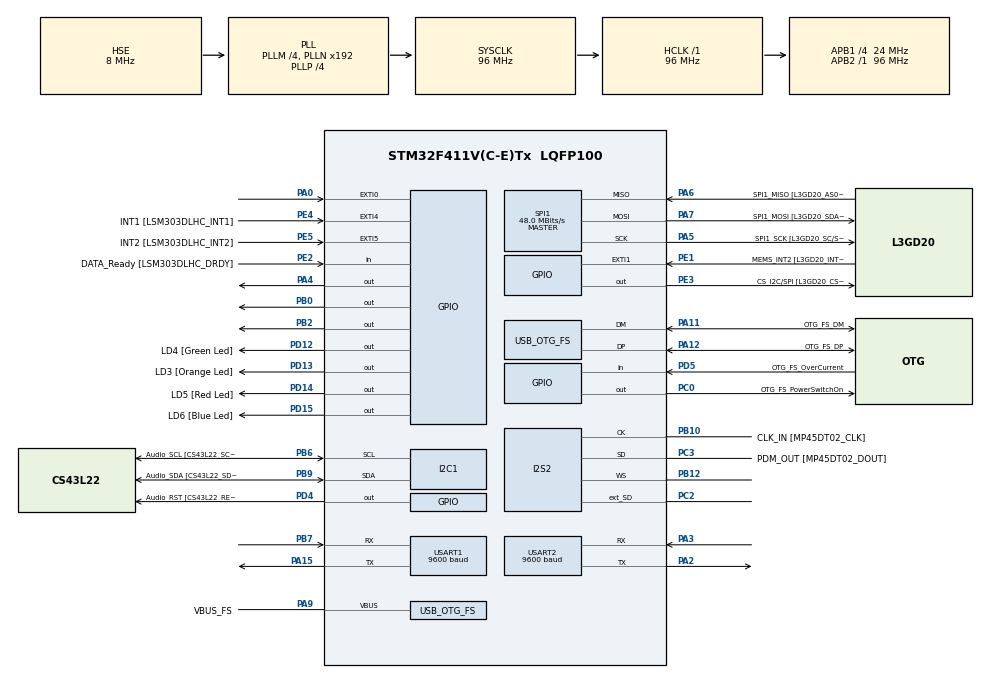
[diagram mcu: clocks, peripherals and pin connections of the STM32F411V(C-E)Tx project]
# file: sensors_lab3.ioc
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Dma.Request0=USART1_RX
Dma.USART1_RX.0.Direction=DMA_PERIPH_TO_MEMORY
Dma.USART1_RX.0.FIFOMode=DMA_FIFOMODE_DISABLE
Dma.USART1_RX.0.Instance=DMA2_Stream2
Dma.USART1_RX.0.MemDataAlignment=DMA_MDATAALIGN_BYTE
Dma.USART1_RX.0.MemInc=DMA_MINC_ENABLE
Dma.USART1_RX.0.Mode=DMA_CIRCULAR
Dma.USART1_RX.0.PeriphDataAlignment=DMA_PDATAALIGN_BYTE
Dma.USART1_RX.0.PeriphInc=DMA_PINC_DISABLE
Dma.USART1_RX.0.Priority=DMA_PRIORITY_HIGH
I2S2.AudioFreq=I2S_AUDIOFREQ_96K
I2S2.ErrorAudioFreq=0.15 %
I2S2.FullDuplexMode=I2S_FULLDUPLEXMODE_ENABLE
I2S2.Instance=SPI$Index
I2S2.RealAudioFreq=96.153 KHz
I2S2.VirtualMode=I2S_MODE_MASTER
Mcu.Family=STM32F4
Mcu.Name=STM32F411V(C-E)Tx
Mcu.Package=LQFP100
NVIC.DMA2_Stream2_IRQn=true\:0\:0\:false\:false\:true\:false\:true\:true
NVIC.OTG_FS_IRQn=true\:0\:0\:false\:false\:true\:true\:true\:true
NVIC.PriorityGroup=NVIC_PRIORITYGROUP_0
NVIC.USART2_IRQn=true\:0\:0\:false\:false\:true\:true\:true\:true
PA0-WKUP.GPIO_ModeDefaultEXTI=GPIO_MODE_EVT_RISING
PA0-WKUP.Signal=GPXTI0
PA10.GPIO_Label=OTG_FS_ID
PA10.Signal=USB_OTG_FS_ID
PA11.GPIO_Label=OTG_FS_DM
PA11.Mode=Host_Only
PA11.Signal=USB_OTG_FS_DM
PA12.GPIO_Label=OTG_FS_DP
PA12.Mode=Host_Only
PA12.Signal=USB_OTG_FS_DP
PA13.GPIO_Label=SWDIO
PA13.Mode=Serial_Wire
PA13.Signal=SYS_JTMS-SWDIO
PA14.GPIO_Label=SWCLK
PA14.Mode=Serial_Wire
PA14.Signal=SYS_JTCK-SWCLK
PA15.Mode=Asynchronous
PA15.Signal=USART1_TX
PA2.Mode=Asynchronous
PA2.Signal=USART2_TX
PA3.Mode=Asynchronous
PA3.Signal=USART2_RX
PA4.PinState=GPIO_PIN_SET
PA4.Signal=GPIO_Output
PA5.GPIO_Label=SPI1_SCK [L3GD20_SC/SPC]
PA5.Mode=Full_Duplex_Master
PA5.Signal=SPI1_SCK
PA6.GPIO_Label=SPI1_MISO [L3GD20_AS0/SDO]
PA6.Mode=Full_Duplex_Master
PA6.Signal=SPI1_MISO
PA7.GPIO_Label=SPI1_MOSI [L3GD20_SDA/SDI/SDO]
PA7.Mode=Full_Duplex_Master
PA7.Signal=SPI1_MOSI
PA9.GPIO_Label=VBUS_FS
PA9.Mode=Activate_VBUS
PA9.Signal=USB_OTG_FS_VBUS
PB0.Signal=GPIO_Output
PB10.GPIO_Label=CLK_IN [MP45DT02_CLK]
PB10.Mode=Full_Duplex_Master
PB10.Signal=I2S2_CK
PB12.Mode=Full_Duplex_Master
PB12.Signal=I2S2_WS
PB2.Signal=GPIO_Output
PB3.GPIO_Label=SWO
PB3.Signal=SYS_JTDO-SWO
PB6.GPIO_Label=Audio_SCL [CS43L22_SCL]
PB6.GPIO_Mode=GPIO_MODE_AF_OD
PB6.GPIO_Pu=GPIO_PULLUP
PB6.GPIO_PuPd=GPIO_NOPULL
PB6.GPIO_Speed=GPIO_SPEED_FREQ_LOW
PB6.Mode=I2C
PB6.Signal=I2C1_SCL
PB7.Mode=Asynchronous
PB7.Signal=USART1_RX
PB9.GPIO_Label=Audio_SDA [CS43L22_SDA]
PB9.GPIO_Mode=GPIO_MODE_AF_OD
PB9.GPIO_Pu=GPIO_PULLUP
PB9.GPIO_PuPd=GPIO_NOPULL
PB9.GPIO_Speed=GPIO_SPEED_FREQ_LOW
PB9.Mode=I2C
PB9.Signal=I2C1_SDA
PC0.GPIO_Label=OTG_FS_PowerSwitchOn
PC0.PinState=GPIO_PIN_SET
PC0.Signal=GPIO_Output
PC10.GPIO_Label=I2S3_SCK [CS43L22_SCLK]
PC10.GPIO_Mode=GPIO_MODE_AF_PP
PC10.GPIO_PuPd=GPIO_NOPULL
PC10.GPIO_Speed=GPIO_SPEED_FREQ_LOW
PC10.Signal=I2S3_CK
PC12.GPIO_Label=I2S3_SD [CS43L22_SDIN]
PC12.GPIO_Mode=GPIO_MODE_AF_PP
PC12.GPIO_PuPd=GPIO_NOPULL
PC12.GPIO_Speed=GPIO_SPEED_FREQ_LOW
PC12.Signal=I2S3_SD
PC14-OSC32_IN.GPIO_Label=PC14-OSC32_IN
PC14-OSC32_IN.Mode=LSE-External-Oscillator
PC14-OSC32_IN.Signal=RCC_OSC32_IN
PC15-OSC32_OUT.GPIO_Label=PC15-OSC32_OUT
PC15-OSC32_OUT.Mode=LSE-External-Oscillator
PC15-OSC32_OUT.Signal=RCC_OSC32_OUT
PC2.Mode=Full_Duplex_Master
PC2.Signal=I2S2_ext_SD
PC3.GPIO_Label=PDM_OUT [MP45DT02_DOUT]
PC3.Mode=Full_Duplex_Master
PC3.Signal=I2S2_SD
PC7.GPIO_Label=I2S3_MCK [CS43L22_MCLK]
PC7.GPIO_Mode=GPIO_MODE_AF_PP
PC7.GPIO_PuPd=GPIO_NOPULL
PC7.GPIO_Speed=GPIO_SPEED_FREQ_LOW
PC7.Signal=I2S3_MCK
PD12.GPIO_Label=LD4 [Green Led]
PD12.GPIO_PuPd=GPIO_NOPULL
PD12.GPIO_Speed=GPIO_SPEED_FREQ_LOW
PD12.Signal=GPIO_Output
PD13.GPIO_Label=LD3 [Orange Led]
PD13.GPIO_PuPd=GPIO_NOPULL
PD13.GPIO_Speed=GPIO_SPEED_FREQ_LOW
PD13.Signal=GPIO_Output
PD14.GPIO_Label=LD5 [Red Led]
PD14.GPIO_PuPd=GPIO_NOPULL
PD14.GPIO_Speed=GPIO_SPEED_FREQ_LOW
PD14.Signal=GPIO_Output
PD15.GPIO_Label=LD6 [Blue Led]
PD15.GPIO_PuPd=GPIO_NOPULL
PD15.GPIO_Speed=GPIO_SPEED_FREQ_LOW
PD15.Signal=GPIO_Output
PD4.GPIO_Label=Audio_RST [CS43L22_RESET]
PD4.Signal=GPIO_Output
PD5.GPIO_Label=OTG_FS_OverCurrent
PD5.Signal=GPIO_Input
PE1.GPIO_Label=MEMS_INT2 [L3GD20_INT2]
PE1.GPIO_ModeDefaultEXTI=GPIO_MODE_EVT_RISING
PE1.Signal=GPXTI1
PE2.GPIO_Label=DATA_Ready [LSM303DLHC_DRDY]
PE2.Signal=GPIO_Input
PE3.GPIO_Label=CS_I2C/SPI [L3GD20_CS_I2C/SPI]
PE3.Signal=GPIO_Output
PE4.GPIO_Label=INT1 [LSM303DLHC_INT1]
PE4.GPIO_ModeDefaultEXTI=GPIO_MODE_EVT_RISING
PE4.Signal=GPXTI4
PE5.GPIO_Label=INT2 [LSM303DLHC_INT2]
PE5.GPIO_ModeDefaultEXTI=GPIO_MODE_EVT_RISING
PE5.Signal=GPXTI5
PH0\ -\ OSC_IN.GPIO_Label=PH0-OSC_IN
PH0\ -\ OSC_IN.Mode=HSE-External-Clock-Source
PH0\ -\ OSC_IN.Signal=RCC_OSC_IN
PH1\ -\ OSC_OUT.GPIO_Label=PH1-OSC_OUT
PH1\ -\ OSC_OUT.Mode=HSE-External-Clock-Source
PH1\ -\ OSC_OUT.Signal=RCC_OSC_OUT
ProjectManager.HeapSize=0x200
ProjectManager.StackSize=0x400
ProjectManager.TargetToolchain=STM32CubeIDE
RCC.48MHZClocksFreq_Value=48000000
RCC.AHBFreq_Value=96000000
RCC.APB1CLKDivider=RCC_HCLK_DIV4
RCC.APB1Freq_Value=24000000
RCC.APB1TimFreq_Value=48000000
RCC.APB2Freq_Value=96000000
RCC.APB2TimFreq_Value=96000000
RCC.CortexFreq_Value=96000000
RCC.HCLKFreq_Value=96000000
RCC.HSE_VALUE=8000000
RCC.HSI_VALUE=16000000
RCC.PLLI2SM=5
RCC.PLLI2SN=200
RCC.PLLM=4
RCC.PLLP=RCC_PLLP_DIV4
RCC.PLLQ=8
RCC.SYSCLKFreq_VALUE=96000000
RCC.SYSCLKSource=RCC_SYSCLKSOURCE_PLLCLK
RCC.VCOOutputFreq_Value=384000000
SPI1.BaudRatePrescaler=SPI_BAUDRATEPRESCALER_2
SPI1.CalculateBaudRate=48.0 MBits/s
SPI1.Direction=SPI_DIRECTION_2LINES
SPI1.Mode=SPI_MODE_MASTER
SPI1.VirtualType=VM_MASTER
USART1.BaudRate=9600
USART1.VirtualMode=VM_ASYNC
USART2.BaudRate=9600
USART2.VirtualMode=VM_ASYNC
USB_HOST.BSP.number=1
USB_HOST.USBH_HandleTypeDef=hUsbHostFS
USB_HOST.VirtualModeFS=Cdc
USB_HOST0.BSP.STBoard=false
USB_HOST0.BSP.api=Unknown
USB_HOST0.BSP.instance=PC0
USB_HOST0.BSP.ip=GPIO
USB_HOST0.BSP.mode=Output
USB_HOST0.BSP.name=Drive_VBUS_FS
USB_HOST0.BSP.solution=PC0
USB_OTG_FS.VirtualMode=Host_Only
USB_OTG_FS.phy_itface=HCD_PHY_EMBEDDED
VP_USB_HOST_VS_USB_HOST_CDC_FS.Mode=CDC_FS
board=STM32F411E-DISCO

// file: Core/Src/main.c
/* USER CODE BEGIN Header */
/**
  ******************************************************************************
  * @file           : main.c
  * @brief          : Main program body
  ******************************************************************************
  * @attention
  *
  * Copyright (c) 2025 STMicroelectronics.
  * All rights reserved.
  *
  * This software is licensed under terms that can be found in the LICENSE file
  * in the root directory of this software component.
  * If no LICENSE file comes with this software, it is provided AS-IS.
  *
  ******************************************************************************
  */
/* USER CODE END Header */
#include "main.h"
#include "usb_host.h"

/* USER CODE BEGIN Includes */
#include <string.h>
#include <stdlib.h>
#include <stdio.h>
#include "nmea_parse.h"
#include <stdarg.h>
#include "ili9341.h"
#include "ili9341_touch.h"
#include "fonts.h"
/* USER CODE END Includes */

/* USER CODE BEGIN PD */
#define RxBuffer_SIZE 64  //configure uart receive buffer size
#define CLI_SIZE 15
/* USER CODE END PD */

I2C_HandleTypeDef hi2c1;

I2S_HandleTypeDef hi2s2;

SPI_HandleTypeDef hspi1;

UART_HandleTypeDef huart1;
UART_HandleTypeDef huart2;
DMA_HandleTypeDef hdma_usart1_rx;

/* USER CODE BEGIN PV */

uint16_t oldPos = 0;
uint16_t newPos = 0;
uint8_t RxBuffer[RxBuffer_SIZE];
uint8_t DataBuffer[DataBuffer_SIZE];

uint8_t cli_byte;
char cli_buffer[CLI_SIZE];
uint8_t cli_index = 0;
uint8_t cli_ready = 0;
char command[CLI_SIZE];
uint8_t raw_mode_on = 0;

uint32_t lastUpdate = 0;
char device_id_str[16];

GPS myData;

/* USER CODE END PV */

void SystemClock_Config(void);
static void MX_GPIO_Init(void);
static void MX_DMA_Init(void);
static void MX_I2C1_Init(void);
static void MX_I2S2_Init(void);
static void MX_SPI1_Init(void);
static void MX_USART2_UART_Init(void);
static void MX_USART1_UART_Init(void);
void MX_USB_HOST_Process(void);

/* USER CODE BEGIN PFP */
uint8_t validate_checksum(char* sentence);
void parse_RMC(char* sentence);
void parse_GGA(char* sentence);
float nmea_to_decimal(char* coord, char hemisphere);
void process_nmea_sentence(char* sentence);
/* USER CODE END PFP */

/* USER CODE BEGIN 0 */
void process_commands(char* cmd){
	if(strcmp(cmd, "VER") == 0){
		char str[128];
		sprintf(str, "FW v1.0, build: %s %s, UART2 9600\r\n", __DATE__, __TIME__);
		HAL_UART_Transmit(&huart2, (uint8_t*)str, strlen(str), 1000);
		cli_ready = 0;
	}else if (strcmp(cmd, "GET POS") == 0) {
		nmea_parse(&myData, DataBuffer);
	    char buf[32];

	    // Latitude
	    HAL_UART_Transmit(&huart2, (uint8_t*)"Lat: ", 5, 100);
	    sprintf(buf, "%f\r\n", myData.latitude);
	    HAL_UART_Transmit(&huart2, (uint8_t*)buf, strlen(buf), 100);

	    // Latitude side
	    HAL_UART_Transmit(&huart2, (uint8_t*)"Lat side: ", 10, 100);
	    sprintf(buf, "%c\r\n", myData.latSide);
	    HAL_UART_Transmit(&huart2, (uint8_t*)buf, strlen(buf), 100);

	    // Longitude
	    HAL_UART_Transmit(&huart2, (uint8_t*)"Lon: ", 5, 100);
	    sprintf(buf, "%f\r\n", myData.longitude);
	    HAL_UART_Transmit(&huart2, (uint8_t*)buf, strlen(buf), 100);

	    // Longitude side
	    HAL_UART_Transmit(&huart2, (uint8_t*)"Lon side: ", 10, 100);
	    sprintf(buf, "%c\r\n", myData.lonSide);
	    HAL_UART_Transmit(&huart2, (uint8_t*)buf, strlen(buf), 100);

	    // Fix
	    HAL_UART_Transmit(&huart2, (uint8_t*)"Fix: ", 5, 100);
	    sprintf(buf, "%d\r\n", myData.fix);
	    HAL_UART_Transmit(&huart2, (uint8_t*)buf, strlen(buf), 100);

	    // Satellite count
	    HAL_UART_Transmit(&huart2, (uint8_t*)"Sats: ", 6, 100);
	    sprintf(buf, "%d\r\n", myData.satelliteCount);
	    HAL_UART_Transmit(&huart2, (uint8_t*)buf, strlen(buf), 100);
		cli_ready = 0;
    } else if (strcmp(cmd, "GET TIME") == 0) {
    	nmea_parse(&myData, DataBuffer);
        char str[64];
        sprintf(str, "UTC:%s, stale:%s\r\n", myData.lastMeasure,
            (myData.fix ? "no" : "yes"));
        HAL_UART_Transmit(&huart2, (uint8_t*)str, strlen(str), 100);
		cli_ready = 0;
    } else if (strncmp(cmd, "RAW ", 4) == 0) {
        if (strcmp(cmd+4, "ON") == 0) raw_mode_on = 1;
        HAL_UART_Transmit(&huart2, (uint8_t*)"RAW mode updated\r\n", 17, 100);
        raw_mode_on = 1;
        while(raw_mode_on){
        	nmea_parse(&myData, DataBuffer);
        }
    } else {
        HAL_UART_Transmit(&huart2, (uint8_t*)"Unknown command\r\n", 17, 100);
		cli_ready = 0;
    }
}

uint32_t get_unique_id(void) {
	uint32_t *uid = (uint32_t*)0x1FFF7A10; //UID address in STM32-nucleoF446re
    return uid[0] ^ uid[1] ^ uid[2]; // XOR all three 32 bit parts
}
void display_gps_data(GPS *data) {
    char buf[64];

    // ID
    sprintf(buf, "ID: %s", device_id_str);
    ILI9341_WriteString(10, 40, buf, Font_11x18, ILI9341_CYAN, ILI9341_BLACK);

    // Latitude
    sprintf(buf, "LAT: %.6f", data->latitude);
    ILI9341_WriteString(10, 70, buf, Font_11x18, ILI9341_GREEN, ILI9341_BLACK);

    sprintf(buf, "LAT side: %c", data->latSide);
    ILI9341_WriteString(10, 90, buf, Font_11x18, ILI9341_YELLOW, ILI9341_BLACK);

    // Longitude
    sprintf(buf, "LON: %.6f", data->longitude);
    ILI9341_WriteString(10, 120, buf, Font_11x18, ILI9341_GREEN, ILI9341_BLACK);

    sprintf(buf, "LON side: %c", data->lonSide);
    ILI9341_WriteString(10, 140, buf, Font_11x18, ILI9341_YELLOW, ILI9341_BLACK);

    // UTC Time
    sprintf(buf, "UTC: %s", data->lastMeasure);
    ILI9341_WriteString(10, 170, buf, Font_11x18, ILI9341_WHITE, ILI9341_BLACK);

    // Satellites
    sprintf(buf, "Sats: %d", data->satelliteCount);
    ILI9341_WriteString(10, 200, buf, Font_11x18, ILI9341_YELLOW, ILI9341_BLACK);
}

void HAL_UARTEx_RxEventCallback(UART_HandleTypeDef *huart, uint16_t Size)
{
	if(huart->Instance == USART1){
		oldPos = newPos; //keep track of the last position in the buffer
		if(oldPos + Size > DataBuffer_SIZE){ //if the buffer is full, parse it, then reset the buffer

			uint16_t datatocopy = DataBuffer_SIZE-oldPos;  // find out how much space is left in the main buffer
			memcpy ((uint8_t *)DataBuffer+oldPos, RxBuffer, datatocopy);  // copy data in that remaining space

			oldPos = 0;  // point to the start of the buffer
			memcpy ((uint8_t *)DataBuffer, (uint8_t *)RxBuffer+datatocopy, (Size-datatocopy));  // copy the remaining data
			newPos = (Size-datatocopy);  // update the position
		}
		else{
			memcpy((uint8_t *)DataBuffer+oldPos, RxBuffer, Size); //copy received data to the buffer
			newPos = Size+oldPos; //update buffer position

		}
		HAL_UARTEx_ReceiveToIdle_DMA(&huart1, (uint8_t *)RxBuffer, RxBuffer_SIZE); //re-enable the DMA interrupt
		__HAL_DMA_DISABLE_IT(&hdma_usart1_rx, DMA_IT_HT); //disable the half transfer interrupt
		}
}

void HAL_UART_RxCpltCallback(UART_HandleTypeDef *huart)
{
    if (huart->Instance == USART2) // твій порт
    {
    	raw_mode_on = 0;
		cli_ready = 0;
    	HAL_UART_Transmit(&huart2, &cli_byte, 1, 1000);
        if (cli_byte == '\r' || cli_byte == '\n')
        {
            cli_buffer[cli_index] = '\0';
            memcpy(command, cli_buffer, cli_index + 1);
            HAL_UART_Transmit(&huart2, (uint8_t*)"\r\n", 2, 100);
            cli_ready = 1;
            cli_index = 0;

        }
        else
        {
            if (cli_index < CLI_SIZE - 1){

                cli_buffer[cli_index++] = cli_byte;
            }
            else
				{
					cli_buffer[cli_index] = '\0';

					char msg[] = "\r\nInvalid command\r\n";
					HAL_UART_Transmit(&huart2, (uint8_t *)msg, strlen(msg), 1000);

					cli_index = 0;
				}

        }

    }
    HAL_UART_Receive_IT(&huart2, &cli_byte, 1);
}

/* USER CODE END 0 */

int main(void)
{

  /* MCU Configuration--------------------------------------------------------*/

  /* Reset of all peripherals, Initializes the Flash interface and the Systick. */
  HAL_Init();

  /* Configure the system clock */
  SystemClock_Config();

  /* Initialize all configured peripherals */
  MX_GPIO_Init();
  MX_DMA_Init();
  MX_I2C1_Init();
  MX_I2S2_Init();
  MX_SPI1_Init();
  MX_USB_HOST_Init();
  MX_USART2_UART_Init();
  MX_USART1_UART_Init();
  /* USER CODE BEGIN 2 */

  HAL_GPIO_WritePin(ILI9341_CS_GPIO_Port, ILI9341_CS_Pin, GPIO_PIN_SET);
  HAL_GPIO_WritePin(ILI9341_DC_GPIO_Port, ILI9341_DC_Pin, GPIO_PIN_SET);
  HAL_GPIO_WritePin(ILI9341_RES_GPIO_Port, ILI9341_RES_Pin, GPIO_PIN_SET);
  // Initialize ILI9341 display
  ILI9341_Init();

  // Fill screen with red
  ILI9341_FillScreen(ILI9341_RED);
  HAL_Delay(500);

  // Clear and show interface
  uint32_t node_id = get_unique_id();
  sprintf(device_id_str, "0x%08lX", node_id);

  ILI9341_FillScreen(ILI9341_WHITE);
  ILI9341_WriteString(10, 10, "GPS ready", Font_16x26, ILI9341_YELLOW, ILI9341_BLACK);
  HAL_Delay(500);

  char msg[] = "GPS NMEA Parser Started\r\n";
  int8_t msg_len = strlen(msg);
  HAL_UART_Transmit(&huart2, (uint8_t*)msg, msg_len, HAL_MAX_DELAY);
  // Start UART DMA reception
  HAL_UARTEx_ReceiveToIdle_DMA(&huart1, (uint8_t *)RxBuffer, RxBuffer_SIZE);
  __HAL_DMA_DISABLE_IT(&hdma_usart1_rx, DMA_IT_HT);
  int Serialcnt = 0;
  HAL_UART_Receive_IT(&huart2, &cli_byte, 1);

  /* USER CODE END 2 */

  /* Infinite loop */
  /* USER CODE BEGIN WHILE */
  while (1)
  {
	  if (HAL_GetTick() - lastUpdate >= 1000) {
	      nmea_parse(&myData, DataBuffer);
	      display_gps_data(&myData);
	      lastUpdate = HAL_GetTick();
	  }

    /* USER CODE END WHILE */
    MX_USB_HOST_Process();

  }
}

void SystemClock_Config(void)
{
  RCC_OscInitTypeDef RCC_OscInitStruct = {0};
  RCC_ClkInitTypeDef RCC_ClkInitStruct = {0};

  /** Configure the main internal regulator output voltage
  */
  __HAL_RCC_PWR_CLK_ENABLE();
  __HAL_PWR_VOLTAGESCALING_CONFIG(PWR_REGULATOR_VOLTAGE_SCALE1);

  /** Initializes the RCC Oscillators according to the specified parameters
  * in the RCC_OscInitTypeDef structure.
  */
  RCC_OscInitStruct.OscillatorType = RCC_OSCILLATORTYPE_HSE;
  RCC_OscInitStruct.HSEState = RCC_HSE_BYPASS;
  RCC_OscInitStruct.PLL.PLLState = RCC_PLL_ON;
  RCC_OscInitStruct.PLL.PLLSource = RCC_PLLSOURCE_HSE;
  RCC_OscInitStruct.PLL.PLLM = 4;
  RCC_OscInitStruct.PLL.PLLN = 192;
  RCC_OscInitStruct.PLL.PLLP = RCC_PLLP_DIV4;
  RCC_OscInitStruct.PLL.PLLQ = 8;
  if (HAL_RCC_OscConfig(&RCC_OscInitStruct) != HAL_OK)
  {
    Error_Handler();
  }

  /** Initializes the CPU, AHB and APB buses clocks
  */
  RCC_ClkInitStruct.ClockType = RCC_CLOCKTYPE_HCLK|RCC_CLOCKTYPE_SYSCLK
                              |RCC_CLOCKTYPE_PCLK1|RCC_CLOCKTYPE_PCLK2;
  RCC_ClkInitStruct.SYSCLKSource = RCC_SYSCLKSOURCE_PLLCLK;
  RCC_ClkInitStruct.AHBCLKDivider = RCC_SYSCLK_DIV1;
  RCC_ClkInitStruct.APB1CLKDivider = RCC_HCLK_DIV4;
  RCC_ClkInitStruct.APB2CLKDivider = RCC_HCLK_DIV1;

  if (HAL_RCC_ClockConfig(&RCC_ClkInitStruct, FLASH_LATENCY_3) != HAL_OK)
  {
    Error_Handler();
  }
}

static void MX_I2C1_Init(void)
{

  hi2c1.Instance = I2C1;
  hi2c1.Init.ClockSpeed = 100000;
  hi2c1.Init.DutyCycle = I2C_DUTYCYCLE_2;
  hi2c1.Init.OwnAddress1 = 0;
  hi2c1.Init.AddressingMode = I2C_ADDRESSINGMODE_7BIT;
  hi2c1.Init.DualAddressMode = I2C_DUALADDRESS_DISABLE;
  hi2c1.Init.OwnAddress2 = 0;
  hi2c1.Init.GeneralCallMode = I2C_GENERALCALL_DISABLE;
  hi2c1.Init.NoStretchMode = I2C_NOSTRETCH_DISABLE;
  if (HAL_I2C_Init(&hi2c1) != HAL_OK)
  {
    Error_Handler();
  }

}

static void MX_I2S2_Init(void)
{

  hi2s2.Instance = SPI2;
  hi2s2.Init.Mode = I2S_MODE_MASTER_TX;
  hi2s2.Init.Standard = I2S_STANDARD_PHILIPS;
  hi2s2.Init.DataFormat = I2S_DATAFORMAT_16B;
  hi2s2.Init.MCLKOutput = I2S_MCLKOUTPUT_DISABLE;
  hi2s2.Init.AudioFreq = I2S_AUDIOFREQ_96K;
  hi2s2.Init.CPOL = I2S_CPOL_LOW;
  hi2s2.Init.ClockSource = I2S_CLOCK_PLL;
  hi2s2.Init.FullDuplexMode = I2S_FULLDUPLEXMODE_ENABLE;
  if (HAL_I2S_Init(&hi2s2) != HAL_OK)
  {
    Error_Handler();
  }

}

static void MX_SPI1_Init(void)
{

  /* SPI1 parameter configuration*/
  hspi1.Instance = SPI1;
  hspi1.Init.Mode = SPI_MODE_MASTER;
  hspi1.Init.Direction = SPI_DIRECTION_2LINES;
  hspi1.Init.DataSize = SPI_DATASIZE_8BIT;
  hspi1.Init.CLKPolarity = SPI_POLARITY_LOW;
  hspi1.Init.CLKPhase = SPI_PHASE_1EDGE;
  hspi1.Init.NSS = SPI_NSS_SOFT;
  hspi1.Init.BaudRatePrescaler = SPI_BAUDRATEPRESCALER_2;
  hspi1.Init.FirstBit = SPI_FIRSTBIT_MSB;
  hspi1.Init.TIMode = SPI_TIMODE_DISABLE;
  hspi1.Init.CRCCalculation = SPI_CRCCALCULATION_DISABLE;
  hspi1.Init.CRCPolynomial = 10;
  if (HAL_SPI_Init(&hspi1) != HAL_OK)
  {
    Error_Handler();
  }

}

static void MX_USART1_UART_Init(void)
{

  huart1.Instance = USART1;
  huart1.Init.BaudRate = 9600;
  huart1.Init.WordLength = UART_WORDLENGTH_8B;
  huart1.Init.StopBits = UART_STOPBITS_1;
  huart1.Init.Parity = UART_PARITY_NONE;
  huart1.Init.Mode = UART_MODE_TX_RX;
  huart1.Init.HwFlowCtl = UART_HWCONTROL_NONE;
  huart1.Init.OverSampling = UART_OVERSAMPLING_16;
  if (HAL_UART_Init(&huart1) != HAL_OK)
  {
    Error_Handler();
  }

}

static void MX_USART2_UART_Init(void)
{

  huart2.Instance = USART2;
  huart2.Init.BaudRate = 9600;
  huart2.Init.WordLength = UART_WORDLENGTH_8B;
  huart2.Init.StopBits = UART_STOPBITS_1;
  huart2.Init.Parity = UART_PARITY_NONE;
  huart2.Init.Mode = UART_MODE_TX_RX;
  huart2.Init.HwFlowCtl = UART_HWCONTROL_NONE;
  huart2.Init.OverSampling = UART_OVERSAMPLING_16;
  if (HAL_UART_Init(&huart2) != HAL_OK)
  {
    Error_Handler();
  }

}

static void MX_DMA_Init(void)
{

  /* DMA controller clock enable */
  __HAL_RCC_DMA2_CLK_ENABLE();

  /* DMA interrupt init */
  /* DMA2_Stream2_IRQn interrupt configuration */
  HAL_NVIC_SetPriority(DMA2_Stream2_IRQn, 0, 0);
  HAL_NVIC_EnableIRQ(DMA2_Stream2_IRQn);

}

static void MX_GPIO_Init(void)
{
  GPIO_InitTypeDef GPIO_InitStruct = {0};

  /* GPIO Ports Clock Enable */
  __HAL_RCC_GPIOE_CLK_ENABLE();
  __HAL_RCC_GPIOC_CLK_ENABLE();
  __HAL_RCC_GPIOH_CLK_ENABLE();
  __HAL_RCC_GPIOA_CLK_ENABLE();
  __HAL_RCC_GPIOB_CLK_ENABLE();
  __HAL_RCC_GPIOD_CLK_ENABLE();

  /*Configure GPIO pin Output Level */
  HAL_GPIO_WritePin(CS_I2C_SPI_GPIO_Port, CS_I2C_SPI_Pin, GPIO_PIN_RESET);

  /*Configure GPIO pin Output Level */
  HAL_GPIO_WritePin(OTG_FS_PowerSwitchOn_GPIO_Port, OTG_FS_PowerSwitchOn_Pin, GPIO_PIN_SET);

  /*Configure GPIO pin Output Level */
  HAL_GPIO_WritePin(GPIOA, GPIO_PIN_4, GPIO_PIN_SET);

  /*Configure GPIO pin Output Level */
  HAL_GPIO_WritePin(GPIOB, GPIO_PIN_0|GPIO_PIN_2, GPIO_PIN_RESET);

  /*Configure GPIO pin Output Level */
  HAL_GPIO_WritePin(GPIOD, LD4_Pin|LD3_Pin|LD5_Pin|LD6_Pin
                          |Audio_RST_Pin, GPIO_PIN_RESET);

  /*Configure GPIO pin : DATA_Ready_Pin */
  GPIO_InitStruct.Pin = DATA_Ready_Pin;
  GPIO_InitStruct.Mode = GPIO_MODE_INPUT;
  GPIO_InitStruct.Pull = GPIO_NOPULL;
  HAL_GPIO_Init(DATA_Ready_GPIO_Port, &GPIO_InitStruct);

  /*Configure GPIO pin : CS_I2C_SPI_Pin */
  GPIO_InitStruct.Pin = CS_I2C_SPI_Pin;
  GPIO_InitStruct.Mode = GPIO_MODE_OUTPUT_PP;
  GPIO_InitStruct.Pull = GPIO_NOPULL;
  GPIO_InitStruct.Speed = GPIO_SPEED_FREQ_LOW;
  HAL_GPIO_Init(CS_I2C_SPI_GPIO_Port, &GPIO_InitStruct);

  /*Configure GPIO pins : INT1_Pin INT2_Pin MEMS_INT2_Pin */
  GPIO_InitStruct.Pin = INT1_Pin|INT2_Pin|MEMS_INT2_Pin;
  GPIO_InitStruct.Mode = GPIO_MODE_EVT_RISING;
  GPIO_InitStruct.Pull = GPIO_NOPULL;
  HAL_GPIO_Init(GPIOE, &GPIO_InitStruct);

  /*Configure GPIO pin : OTG_FS_PowerSwitchOn_Pin */
  GPIO_InitStruct.Pin = OTG_FS_PowerSwitchOn_Pin;
  GPIO_InitStruct.Mode = GPIO_MODE_OUTPUT_PP;
  GPIO_InitStruct.Pull = GPIO_NOPULL;
  GPIO_InitStruct.Speed = GPIO_SPEED_FREQ_LOW;
  HAL_GPIO_Init(OTG_FS_PowerSwitchOn_GPIO_Port, &GPIO_InitStruct);

  /*Configure GPIO pin : PA0 */
  GPIO_InitStruct.Pin = GPIO_PIN_0;
  GPIO_InitStruct.Mode = GPIO_MODE_EVT_RISING;
  GPIO_InitStruct.Pull = GPIO_NOPULL;
  HAL_GPIO_Init(GPIOA, &GPIO_InitStruct);

  /*Configure GPIO pin : PA4 */
  GPIO_InitStruct.Pin = GPIO_PIN_4;
  GPIO_InitStruct.Mode = GPIO_MODE_OUTPUT_PP;
  GPIO_InitStruct.Pull = GPIO_NOPULL;
  GPIO_InitStruct.Speed = GPIO_SPEED_FREQ_LOW;
  HAL_GPIO_Init(GPIOA, &GPIO_InitStruct);

  /*Configure GPIO pins : PB0 PB2 */
  GPIO_InitStruct.Pin = GPIO_PIN_0|GPIO_PIN_2;
  GPIO_InitStruct.Mode = GPIO_MODE_OUTPUT_PP;
  GPIO_InitStruct.Pull = GPIO_NOPULL;
  GPIO_InitStruct.Speed = GPIO_SPEED_FREQ_LOW;
  HAL_GPIO_Init(GPIOB, &GPIO_InitStruct);

  /*Configure GPIO pins : LD4_Pin LD3_Pin LD5_Pin LD6_Pin
                           Audio_RST_Pin */
  GPIO_InitStruct.Pin = LD4_Pin|LD3_Pin|LD5_Pin|LD6_Pin
                          |Audio_RST_Pin;
  GPIO_InitStruct.Mode = GPIO_MODE_OUTPUT_PP;
  GPIO_InitStruct.Pull = GPIO_NOPULL;
  GPIO_InitStruct.Speed = GPIO_SPEED_FREQ_LOW;
  HAL_GPIO_Init(GPIOD, &GPIO_InitStruct);

  /*Configure GPIO pins : I2S3_MCK_Pin I2S3_SCK_Pin I2S3_SD_Pin */
  GPIO_InitStruct.Pin = I2S3_MCK_Pin|I2S3_SCK_Pin|I2S3_SD_Pin;
  GPIO_InitStruct.Mode = GPIO_MODE_AF_PP;
  GPIO_InitStruct.Pull = GPIO_NOPULL;
  GPIO_InitStruct.Speed = GPIO_SPEED_FREQ_LOW;
  GPIO_InitStruct.Alternate = GPIO_AF6_SPI3;
  HAL_GPIO_Init(GPIOC, &GPIO_InitStruct);

  /*Configure GPIO pin : OTG_FS_OverCurrent_Pin */
  GPIO_InitStruct.Pin = OTG_FS_OverCurrent_Pin;
  GPIO_InitStruct.Mode = GPIO_MODE_INPUT;
  GPIO_InitStruct.Pull = GPIO_NOPULL;
  HAL_GPIO_Init(OTG_FS_OverCurrent_GPIO_Port, &GPIO_InitStruct);

}

void Error_Handler(void)
{
  __disable_irq();
  while (1)
  {
  }
}
